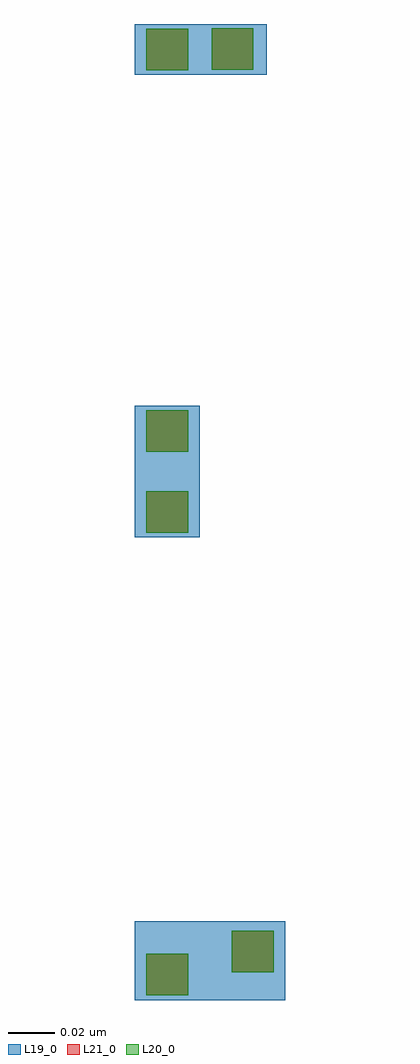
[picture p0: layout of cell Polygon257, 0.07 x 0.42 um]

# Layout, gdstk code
import gdstk
lib = gdstk.Library(unit=1e-6, precision=2.5e-10)
def R(c, l, rs):  # rectangles x0, y0, x1, y1
    for r in rs: c.add(gdstk.rectangle(r[:2], r[2:], *l))
L19_0 = (19, 0)
L20_0 = (20, 0)
L21_0 = (21, 0)

polygon257 = lib.new_cell('Polygon257')
R(polygon257, L19_0, [(-0.005,-0.002,0.06,0.032), (-0.005,0.198,0.023,0.255), (-0.005,0.398,0.052,0.42)])
R(polygon257, L20_0, [(0,0,0.018,0.018), (0.037,0.01,0.055,0.028), (0,0.2,0.018,0.218), (0,0.235,0.018,0.253), (0,0.4,0.018,0.418), (0.0283,0.4002,0.0462,0.4183)])
R(polygon257, L21_0, [(0,0,0.018,0.018), (0.037,0.01,0.055,0.028), (0,0.2,0.018,0.218), (0,0.235,0.018,0.253), (0,0.4,0.018,0.418), (0.0283,0.4002,0.0462,0.4183)])

lib.write_gds('Polygon257.gds')
